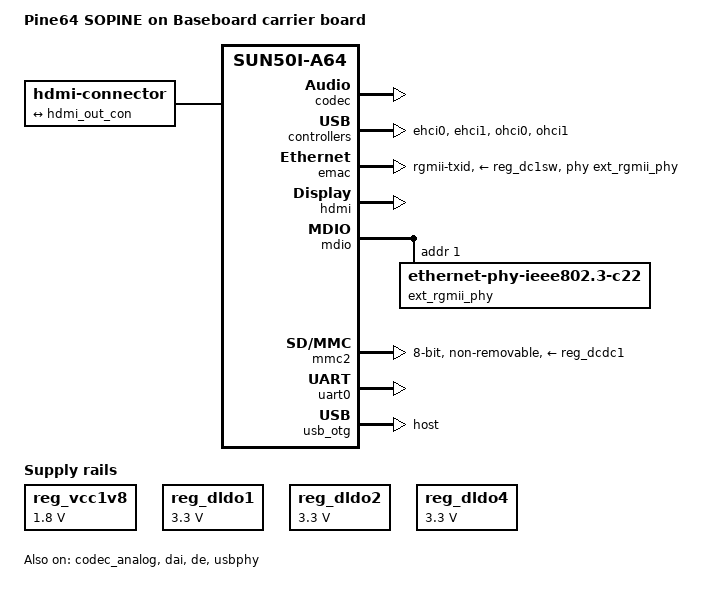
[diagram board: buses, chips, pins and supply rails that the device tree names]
// SPDX-License-Identifier: (GPL-2.0+ OR MIT)
// Copyright (c) 2017 Icenowy Zheng <icenowy@aosc.xyz>
// Based on sun50i-a64-pine64.dts, which is:
//   Copyright (c) 2016 ARM Ltd.

/dts-v1/;

#include "sun50i-a64-sopine.dtsi"

/ {
	model = "Pine64 SOPINE on Baseboard carrier board";
	compatible = "pine64,sopine-baseboard", "pine64,sopine",
		     "allwinner,sun50i-a64";

	aliases {
		ethernet0 = &emac;
		serial0 = &uart0;
		serial1 = &uart1;
		serial2 = &uart2;
		serial3 = &uart3;
		serial4 = &uart4;
	};

	chosen {
		stdout-path = "serial0:115200n8";
	};

	hdmi-connector {
		compatible = "hdmi-connector";
		type = "a";

		port {
			hdmi_con_in: endpoint {
				remote-endpoint = <&hdmi_out_con>;
			};
		};
	};

	reg_vcc1v8: vcc1v8 {
		compatible = "regulator-fixed";
		regulator-name = "vcc1v8";
		regulator-min-microvolt = <1800000>;
		regulator-max-microvolt = <1800000>;
	};
};

&ac_power_supply {
	status = "okay";
};

&battery_power_supply {
	status = "okay";
};

&codec {
	status = "okay";
};

&codec_analog {
	status = "okay";
};

&dai {
	status = "okay";
};

&de {
	status = "okay";
};

&ehci0 {
	status = "okay";
};

&ehci1 {
	status = "okay";
};

&emac {
	pinctrl-names = "default";
	pinctrl-0 = <&rgmii_pins>;
	phy-mode = "rgmii-txid";
	phy-handle = <&ext_rgmii_phy>;
	phy-supply = <&reg_dc1sw>;
	status = "okay";
};

&hdmi {
	hvcc-supply = <&reg_dldo1>;
	status = "okay";
};

&hdmi_out {
	hdmi_out_con: endpoint {
		remote-endpoint = <&hdmi_con_in>;
	};
};

&mdio {
	ext_rgmii_phy: ethernet-phy@1 {
		compatible = "ethernet-phy-ieee802.3-c22";
		reg = <1>;
	};
};

/* On Wifi/BT connector */
&mmc1 {
	pinctrl-names = "default";
	pinctrl-0 = <&mmc1_pins>;
	vmmc-supply = <&reg_dldo4>;
	vqmmc-supply = <&reg_eldo1>;
	bus-width = <4>;
	non-removable;
	status = "disabled";
};

&mmc2 {
	pinctrl-names = "default";
	pinctrl-0 = <&mmc2_pins>;
	vmmc-supply = <&reg_dcdc1>;
	vqmmc-supply = <&reg_vcc1v8>;
	bus-width = <8>;
	non-removable;
	cap-mmc-hw-reset;
	mmc-hs200-1_8v;
	status = "okay";
};

&ohci0 {
	status = "okay";
};

&ohci1 {
	status = "okay";
};

&reg_dc1sw {
	/*
	 * Ethernet PHY needs 30ms to properly power up and some more
	 * to initialize. 100ms should be plenty of time to finish
	 * whole process.
	 */
	regulator-enable-ramp-delay = <100000>;
	regulator-name = "vcc-phy";
};

&reg_dldo1 {
	regulator-min-microvolt = <3300000>;
	regulator-max-microvolt = <3300000>;
	regulator-name = "vcc-hdmi";
};

&reg_dldo2 {
	regulator-min-microvolt = <3300000>;
	regulator-max-microvolt = <3300000>;
	regulator-name = "vcc-mipi";
};

&reg_dldo4 {
	regulator-min-microvolt = <3300000>;
	regulator-max-microvolt = <3300000>;
	regulator-name = "vcc-wifi";
};

&simplefb_hdmi {
	vcc-hdmi-supply = <&reg_dldo1>;
};

&sound {
	simple-audio-card,aux-devs = <&codec_analog>;
	simple-audio-card,widgets = "Microphone", "Microphone Jack",
				    "Headphone", "Headphone Jack";
	simple-audio-card,routing =
			"Left DAC", "DACL",
			"Right DAC", "DACR",
			"Headphone Jack", "HP",
			"ADCL", "Left ADC",
			"ADCR", "Right ADC",
			"MIC2", "Microphone Jack";
	status = "okay";
};

&uart0 {
	pinctrl-names = "default";
	pinctrl-0 = <&uart0_pb_pins>;
	status = "okay";
};

/* On Wifi/BT connector, with RTS/CTS */
&uart1 {
	pinctrl-names = "default";
	pinctrl-0 = <&uart1_pins>, <&uart1_rts_cts_pins>;
	uart-has-rtscts;
	status = "disabled";
};

/* On Pi-2 connector */
&uart2 {
	pinctrl-names = "default";
	pinctrl-0 = <&uart2_pins>;
	status = "disabled";
};

/* On Euler connector */
&uart3 {
	pinctrl-names = "default";
	pinctrl-0 = <&uart3_pins>;
	status = "disabled";
};

/* On Euler connector, RTS/CTS optional */
&uart4 {
	pinctrl-names = "default";
	pinctrl-0 = <&uart4_pins>;
	status = "disabled";
};

&usb_otg {
	dr_mode = "host";
	status = "okay";
};

&usbphy {
	status = "okay";
};
